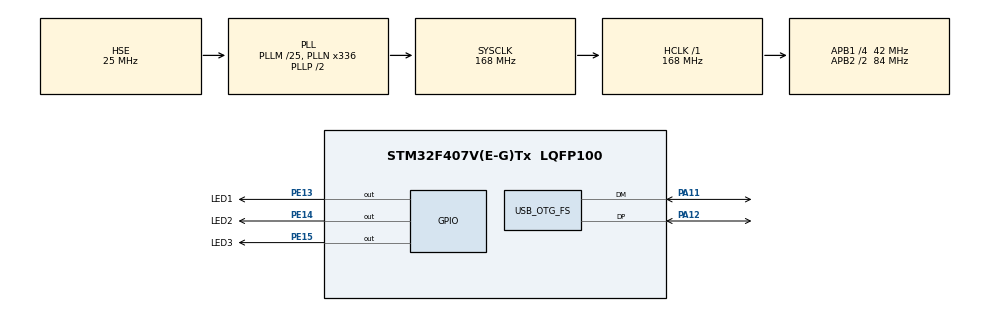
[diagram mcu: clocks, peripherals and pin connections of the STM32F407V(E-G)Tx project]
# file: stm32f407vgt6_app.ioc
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Mcu.Family=STM32F4
Mcu.Name=STM32F407V(E-G)Tx
Mcu.Package=LQFP100
NVIC.OTG_FS_IRQn=true\:0\:0\:false\:false\:true\:false\:true\:true
NVIC.PriorityGroup=NVIC_PRIORITYGROUP_4
PA11.Mode=Device_Only
PA11.Signal=USB_OTG_FS_DM
PA12.Mode=Device_Only
PA12.Signal=USB_OTG_FS_DP
PA13.Mode=JTAG_4_pins
PA13.Signal=SYS_JTMS-SWDIO
PA14.Mode=JTAG_4_pins
PA14.Signal=SYS_JTCK-SWCLK
PA15.Mode=JTAG_4_pins
PA15.Signal=SYS_JTDI
PB3.Mode=JTAG_4_pins
PB3.Signal=SYS_JTDO-SWO
PC14-OSC32_IN.Mode=LSE-External-Oscillator
PC14-OSC32_IN.Signal=RCC_OSC32_IN
PC15-OSC32_OUT.Mode=LSE-External-Oscillator
PC15-OSC32_OUT.Signal=RCC_OSC32_OUT
PE13.GPIO_Label=LED1
PE13.PinState=GPIO_PIN_SET
PE13.Signal=GPIO_Output
PE14.GPIO_Label=LED2
PE14.PinState=GPIO_PIN_SET
PE14.Signal=GPIO_Output
PE15.GPIO_Label=LED3
PE15.PinState=GPIO_PIN_SET
PE15.Signal=GPIO_Output
PH0-OSC_IN.Mode=HSE-External-Oscillator
PH0-OSC_IN.Signal=RCC_OSC_IN
PH1-OSC_OUT.Mode=HSE-External-Oscillator
PH1-OSC_OUT.Signal=RCC_OSC_OUT
ProjectManager.HeapSize=0x200
ProjectManager.StackSize=0x400
ProjectManager.TargetToolchain=STM32CubeIDE
RCC.48MHZClocksFreq_Value=48000000
RCC.AHBFreq_Value=168000000
RCC.APB1CLKDivider=RCC_HCLK_DIV4
RCC.APB1Freq_Value=42000000
RCC.APB1TimFreq_Value=84000000
RCC.APB2CLKDivider=RCC_HCLK_DIV2
RCC.APB2Freq_Value=84000000
RCC.APB2TimFreq_Value=168000000
RCC.CortexFreq_Value=168000000
RCC.HCLKFreq_Value=168000000
RCC.HSE_VALUE=25000000
RCC.HSI_VALUE=16000000
RCC.PLLM=25
RCC.PLLN=336
RCC.PLLQ=7
RCC.SYSCLKFreq_VALUE=168000000
RCC.SYSCLKSource=RCC_SYSCLKSOURCE_PLLCLK
RCC.VCOOutputFreq_Value=336000000
USB_DEVICE.CLASS_NAME_FS=CDC
USB_DEVICE.VirtualMode-CDC_FS=Cdc
USB_DEVICE.VirtualModeFS=Cdc_FS
USB_OTG_FS.VirtualMode=Device_Only
VP_USB_DEVICE_VS_USB_DEVICE_CDC_FS.Mode=CDC_FS
board=custom

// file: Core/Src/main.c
/* USER CODE BEGIN Header */
/**
  ******************************************************************************
  * @file           : main.c
  * @brief          : Main program body
  ******************************************************************************
  * @attention
  *
  * Copyright (c) 2024 STMicroelectronics.
  * All rights reserved.
  *
  * This software is licensed under terms that can be found in the LICENSE file
  * in the root directory of this software component.
  * If no LICENSE file comes with this software, it is provided AS-IS.
  *
  ******************************************************************************
  */
/* USER CODE END Header */
#include "main.h"
#include "usb_device.h"
#include "gpio.h"

/* USER CODE BEGIN Includes */
#include "usbd_cdc_if.h"
/* USER CODE END Includes */

/* USER CODE BEGIN PD */
#define APPLICATION_FW_ADDRESS_VTOR 0x8020000
/* USER CODE END PD */

/* USER CODE BEGIN PV */
uint8_t data[] = "Run in app ... \r\n";
FLASH_EraseInitTypeDef EraseInitStruct;
uint32_t Result = 0;
/* USER CODE END PV */

void SystemClock_Config(void);

int main(void)
{

  /* USER CODE BEGIN 1 */
#if 1
	SCB->VTOR = APPLICATION_FW_ADDRESS_VTOR;
	__enable_irq();
#endif
  /* USER CODE END 1 */

  /* MCU Configuration--------------------------------------------------------*/

  /* Reset of all peripherals, Initializes the Flash interface and the Systick. */
  HAL_Init();

  /* Configure the system clock */
  SystemClock_Config();

  /* Initialize all configured peripherals */
  MX_GPIO_Init();
  MX_USB_DEVICE_Init();

  /* Infinite loop */
  while (1)
  {

    /* USER CODE BEGIN 3 */
	  if(FirmwareUpdateFlag)
	  {
			HAL_FLASH_Unlock();

			EraseInitStruct.TypeErase = FLASH_TYPEERASE_SECTORS;
			EraseInitStruct.VoltageRange = FLASH_VOLTAGE_RANGE_3;
			EraseInitStruct.Sector = 11;
			EraseInitStruct.NbSectors = 1;

			// erase the flash sector
			HAL_FLASHEx_Erase(&EraseInitStruct, &Result);
			HAL_Delay(1000);
			HAL_FLASH_Program(FLASH_TYPEPROGRAM_WORD, 0x80E0000, 0x55AA);
			FirmwareUpdateFlag = 0;
	  }
	  else
	  {
		  CDC_Transmit_FS(data, sizeof(data));
		  HAL_GPIO_TogglePin(LED3_GPIO_Port, LED3_Pin);
	  }
	  HAL_Delay(500);
  }
  /* USER CODE END 3 */
}

void SystemClock_Config(void)
{
  RCC_OscInitTypeDef RCC_OscInitStruct = {0};
  RCC_ClkInitTypeDef RCC_ClkInitStruct = {0};

  /** Configure the main internal regulator output voltage
  */
  __HAL_RCC_PWR_CLK_ENABLE();
  __HAL_PWR_VOLTAGESCALING_CONFIG(PWR_REGULATOR_VOLTAGE_SCALE1);

  /** Initializes the RCC Oscillators according to the specified parameters
  * in the RCC_OscInitTypeDef structure.
  */
  RCC_OscInitStruct.OscillatorType = RCC_OSCILLATORTYPE_HSE;
  RCC_OscInitStruct.HSEState = RCC_HSE_ON;
  RCC_OscInitStruct.PLL.PLLState = RCC_PLL_ON;
  RCC_OscInitStruct.PLL.PLLSource = RCC_PLLSOURCE_HSE;
  RCC_OscInitStruct.PLL.PLLM = 25;
  RCC_OscInitStruct.PLL.PLLN = 336;
  RCC_OscInitStruct.PLL.PLLP = RCC_PLLP_DIV2;
  RCC_OscInitStruct.PLL.PLLQ = 7;
  if (HAL_RCC_OscConfig(&RCC_OscInitStruct) != HAL_OK)
  {
    Error_Handler();
  }

  /** Initializes the CPU, AHB and APB buses clocks
  */
  RCC_ClkInitStruct.ClockType = RCC_CLOCKTYPE_HCLK|RCC_CLOCKTYPE_SYSCLK
                              |RCC_CLOCKTYPE_PCLK1|RCC_CLOCKTYPE_PCLK2;
  RCC_ClkInitStruct.SYSCLKSource = RCC_SYSCLKSOURCE_PLLCLK;
  RCC_ClkInitStruct.AHBCLKDivider = RCC_SYSCLK_DIV1;
  RCC_ClkInitStruct.APB1CLKDivider = RCC_HCLK_DIV4;
  RCC_ClkInitStruct.APB2CLKDivider = RCC_HCLK_DIV2;

  if (HAL_RCC_ClockConfig(&RCC_ClkInitStruct, FLASH_LATENCY_5) != HAL_OK)
  {
    Error_Handler();
  }
}

void Error_Handler(void)
{
  __disable_irq();
  while (1)
  {
  }
}
